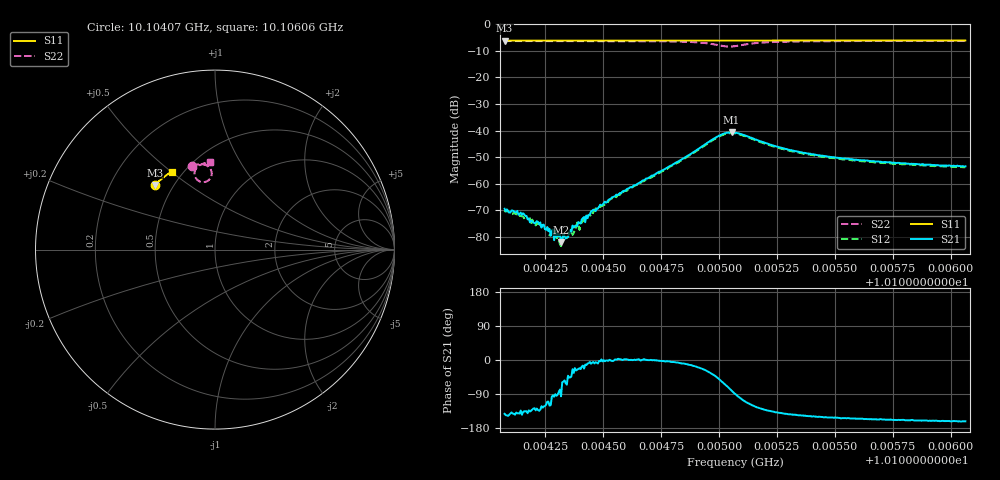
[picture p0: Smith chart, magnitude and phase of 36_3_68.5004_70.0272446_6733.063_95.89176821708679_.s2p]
#  HZ  S  RI  R  50.00
! Rohde & Schwarz Vector Network Analyzer
! Rohde-Schwarz,ZNB20-2Port,1311601062101988,3.16
! Created: UTC 3/20/2024, 4:50:09 PM
! freq[Hz]  re:S11  im:S11  re:S21  im:S21  re:S12  im:S12  re:S22  im:S22
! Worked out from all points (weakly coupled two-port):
!   401 points, 10.10407 GHz to 10.10606 GHz, reference 50 ohm
!   highest |S21| = -40.66 dB at 10.10505 GHz (marker M1); lowest = -81.9 dB at 10.10432 GHz (marker M2)
!   lowest |S11| = -6.2 dB at 10.10407 GHz (marker M3), VSWR 2.93, Z = 19.8 + j18.8 ohm
!   |S11| at or under -10 dB: nowhere
!   |S22| runs from -8.4 to -6.2 dB; largest |S21 - S12| = 0.00091
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1.0104075e10  -0.3352 0.3595  -0.000267 -0.000207  -0.000225 -0.000184  -0.1296 0.4663
1.0104154e10  -0.3319 0.363  -0.000206 -0.000188  -0.000149 -0.000193  -0.1237 0.4681
1.0104194e10  -0.3301 0.3647  -0.00013 -0.00015  -0.000117 -0.000176  -0.1208 0.4687
1.0104219e10  -0.3289 0.3656  -0.000127 -0.000142  -9.57e-05 -0.000139  -0.1189 0.4693
1.0104264e10  -0.3271 0.3677  -4.31e-05 -0.00012  -6.89e-05 -0.000127  -0.1156 0.4702
1.0104304e10  -0.3252 0.3693  -2.82e-06 -0.000117  9.51e-06 -8.41e-05  -0.1124 0.4709
1.0104318e10  -0.3245 0.37  -8.1e-06 -8.02e-05  1.69e-05 -6.46e-05  -0.1112 0.4712
1.0104343e10  -0.3237 0.371  4.1e-05 -8.77e-05  4.95e-05 -8.2e-05  -0.1093 0.4716
1.0104373e10  -0.3223 0.3722  0.000124 -8.37e-05  0.000105 -5e-05  -0.1067 0.4722
1.0104383e10  -0.3218 0.3726  0.000145 -7.6e-05  0.000129 -6.11e-05  -0.1059 0.4724
1.0104408e10  -0.3207 0.3737  0.000204 -6.3e-05  0.000178 -4.85e-05  -0.1038 0.473
1.0104428e10  -0.3197 0.3746  0.000245 -5.75e-05  0.000247 -2.65e-05  -0.102 0.473
1.0104453e10  -0.3186 0.3754  0.000307 -3.88e-05  0.000259 -6.56e-06  -0.0999 0.4734
1.0104537e10  -0.3149 0.3789  0.000551 -2.44e-05  0.000524 3.17e-05  -0.0918 0.4747
1.0104741e10  -0.3055 0.3873  0.00168 -5.81e-05  0.00158 6.5e-05  -0.0665 0.4748
1.0104995e10  -0.2934 0.3968  0.00526 -0.00573  0.00557 -0.00499  -0.0217 0.4061
1.0105055e10  -0.2908 0.3986  0.0015 -0.00914  0.00224 -0.00864  -0.0684 0.3756
1.0105069e10  -0.29 0.3992  0.00011 -0.00915  0.000899 -0.0088  -0.0828 0.3786
1.0105253e10  -0.2815 0.4065  -0.00371 -0.00327  -0.00327 -0.00343  -0.1022 0.4559
1.0105403e10  -0.2744 0.4119  -0.00308 -0.00184  -0.0028 -0.00204  -0.0825 0.4717
1.0105736e10  -0.2578 0.4235  -0.00235 -0.000972  -0.00217 -0.00111  -0.051 0.4825
1.0106064e10  -0.2409 0.4342  -0.00201 -0.000664  -0.00187 -0.000786  -0.026 0.4867
